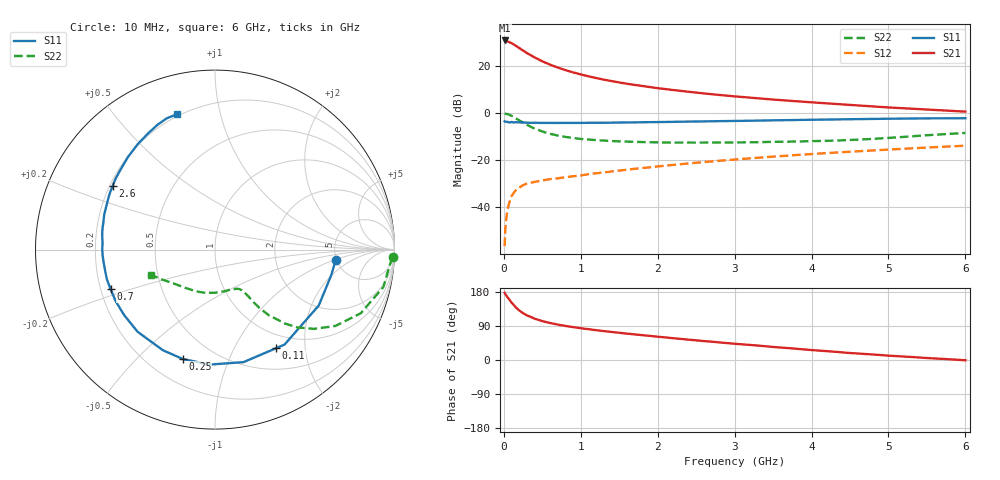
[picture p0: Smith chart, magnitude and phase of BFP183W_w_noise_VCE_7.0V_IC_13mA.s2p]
! Infineon Technologies  Discrete & RF Semiconductors
! BFP183W
! VCE =  7.0 V,  IC =  13 mA
! Common Emitter S-Parameters:  Jan 2017
# GHz  S  MA  R  50
!  f  S11  S21  S12  S22
! GHz  MAG  ANG  MAG  ANG  MAG  ANG  MAG  ANG
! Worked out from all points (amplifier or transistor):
!   77 points, 10 MHz to 6 GHz, reference 50 ohm
!   highest |S21| = 30.9 dB at 10 MHz (marker M1)
!   |S21| within 3 dB of that: start of sweep to 190.4 MHz
!   unconditionally stable (mu >= 1): 1.504 GHz to 3.785 GHz
!   at 130 MHz: K = 0.17, MSG = 31.5 dB, |S12| = -33.8 dB
!   at 2.2 GHz: K = 1.06, MAG = 14.4 dB, |S12| = -21.9 dB
!   at 6 GHz: K = 0.86, MSG = 7.2 dB, |S12| = -13.8 dB
!   lowest NFmin = 1.01 dB at 450 MHz
!   S11 on the Smith chart (normalised r, x): 10 MHz: 4.93, -1.04; 110 MHz: 0.79, -1.49; 250 MHz: 0.34, -0.69; 700 MHz: 0.24, -0.17; 2.6 GHz: 0.21, +0.27; 6 GHz: 0.19, +0.74
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0.01  0.6752 -4.9  35.22 177.4  0.0015 80.9  0.9907 -2.5
0.02  0.663 -12.5  34.88 173.7  0.0036 86.8  0.9774 -5.0
0.05  0.6567 -28.3  33.68 165.0  0.0092 75.0  0.9612 -12.5
0.1  0.656 -53.8  30.96 151.4  0.0173 69.0  0.8864 -23.6
0.11  0.6465 -58.1  30.21 149.3  0.0183 66.4  0.8664 -25.2
0.15  0.6467 -75.8  27.64 140.1  0.0227 58.6  0.7942 -32.4
0.2  0.6415 -92.7  24.34 130.8  0.0262 52.2  0.7065 -38.7
0.25  0.6352 -106.5  21.5 123.4  0.0297 48.3  0.6309 -43.4
0.3  0.6314 -117.4  19.01 117.7  0.032 45.5  0.5666 -46.6
0.4  0.629 -133.3  15.35 108.9  0.0348 42.2  0.473 -50.6
0.5  0.624 -144.3  12.69 102.6  0.0373 41.1  0.41 -52.7
0.6  0.6237 -152.7  10.81 97.6  0.0399 40.9  0.3666 -53.7
0.7  0.6219 -159.2  9.366 93.6  0.0415 42.2  0.3357 -54.2
0.9  0.6232 -169.2  7.379 86.7  0.0459 44.0  0.2979 -55.2
1.1  0.6268 -176.9  6.101 81.3  0.0507 46.4  0.2767 -56.1
1.5  0.6355 171.5  4.512 71.9  0.0606 49.8  0.2525 -59.8
2.1  0.6531 157.6  3.265 59.6  0.077 52.7  0.2392 -69.8
2.6  0.6714 148.1  2.638 50.0  0.0917 52.9  0.2378 -80.9
3.1  0.6898 139.6  2.216 41.3  0.1071 52.3  0.2407 -92.6
4.1  0.7314 124.9  1.665 24.8  0.1393 49.0  0.2575 -117.5
5.1  0.768 113.8  1.302 10.3  0.1726 44.4  0.3068 -143.3
6  0.7841 105.5  1.084 -0.7  0.2046 39.0  0.3819 -158.3
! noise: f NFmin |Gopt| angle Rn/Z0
0.45  1.01  0.12  144  0.1
0.9  1.04  0.19  155  0.09
1.9  1.52  0.38  -172  0.08
2.4  1.75  0.44  -164  0.1
